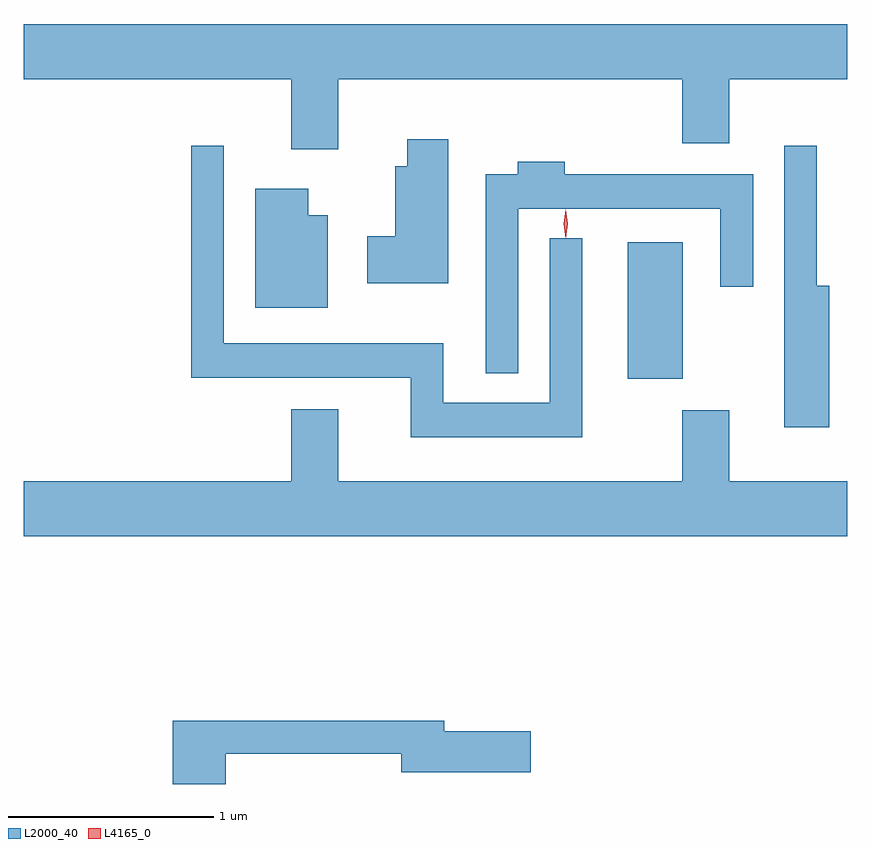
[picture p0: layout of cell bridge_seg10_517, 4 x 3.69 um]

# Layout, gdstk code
import gdstk
lib = gdstk.Library(unit=1e-6, precision=1e-09)
def R(c, l, rs):  # rectangles x0, y0, x1, y1
    for r in rs: c.add(gdstk.rectangle(r[:2], r[2:], *l))
def P(c, l, *ps):  # polygons
    for p in ps: c.add(gdstk.Polygon(p, *l))
L2000_40 = (2000, 40)
L4165_0 = (4165, 0)

bridge_seg10_517 = lib.new_cell('bridge_seg10_517')
R(bridge_seg10_517, L2000_40, [(803.556,2172.401,803.824,2173.064)])
P(bridge_seg10_517, L2000_40, [(802.149,2173.856),(803.821,2173.856),(803.821,2173.546),(804.049,2173.546),(804.049,2173.856),(804.622,2173.856),(804.622,2174.124),(800.622,2174.124),(800.622,2173.856),(801.921,2173.856),(801.921,2173.516),(802.149,2173.516)],
  [(802.684,2173.564),(802.486,2173.564),(802.486,2173.434),(802.426,2173.434),(802.426,2173.094),(802.291,2173.094),(802.291,2172.866),(802.684,2172.866)],
  [(804.534,2172.854),(804.474,2172.854),(804.474,2173.533),(804.316,2173.533),(804.316,2172.166),(804.534,2172.166)],
  [(803.334,2173.083),(803.176,2173.083),(803.176,2172.284),(802.659,2172.284),(802.659,2172.574),(801.594,2172.574),(801.594,2173.533),(801.436,2173.533),(801.436,2172.406),(802.501,2172.406),(802.501,2172.116),(803.334,2172.116)],
  [(803.024,2173.226),(804.006,2173.226),(804.006,2172.848),(804.164,2172.848),(804.164,2173.394),(803.249,2173.394),(803.249,2173.454),(803.021,2173.454),(803.021,2173.394),(802.866,2173.394),(802.866,2172.428),(803.024,2172.428)],
  [(802.099,2173.194),(802.004,2173.194),(802.004,2173.324),(801.746,2173.324),(801.746,2172.746),(802.099,2172.746)],
  [(804.622,2171.904),(804.049,2171.904),(804.049,2172.249),(803.821,2172.249),(803.821,2171.904),(802.149,2171.904),(802.149,2172.254),(801.921,2172.254),(801.921,2171.904),(800.622,2171.904),(800.622,2171.636),(804.622,2171.636)],
  [(801.604,2170.581),(802.456,2170.581),(802.456,2170.491),(803.084,2170.491),(803.084,2170.689),(802.664,2170.689),(802.664,2170.739),(801.346,2170.739),(801.346,2170.433),(801.604,2170.433)])
P(bridge_seg10_517, L4165_0, [(803.254,2173.084),(803.254,2173.084),(803.244,2173.153),(803.254,2173.223),(803.254,2173.223),(803.255,2173.223),(803.264,2173.153),(803.255,2173.084)])

lib.write_gds('bridge_seg10_517.gds')
